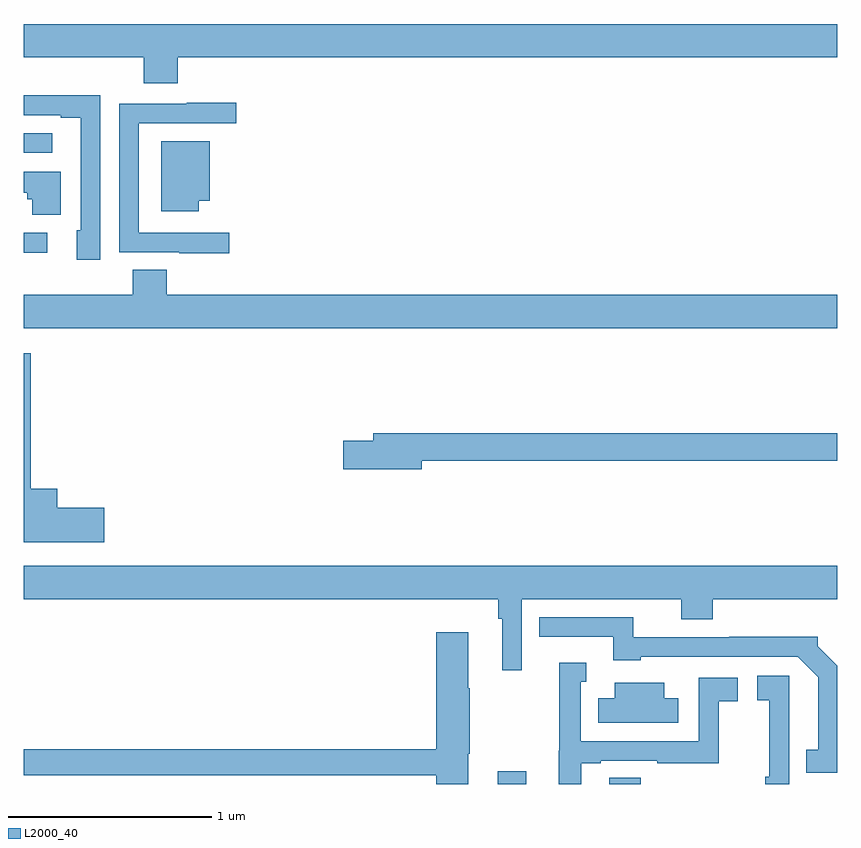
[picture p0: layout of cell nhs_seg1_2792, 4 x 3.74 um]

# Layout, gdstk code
import gdstk
lib = gdstk.Library(unit=1e-6, precision=1e-09)
def R(c, l, rs):  # rectangles x0, y0, x1, y1
    for r in rs: c.add(gdstk.rectangle(r[:2], r[2:], *l))
def P(c, l, *ps):  # polygons
    for p in ps: c.add(gdstk.Polygon(p, *l))
L2000_40 = (2000, 40)

nhs_seg1_2792 = lib.new_cell('nhs_seg1_2792')
R(nhs_seg1_2792, L2000_40, [(265.331,508.199,265.471,508.261), (265.88,508.199,266.033,508.229), (263,510.812,263.116,510.909), (263,511.302,263.14,511.398)])
P(nhs_seg1_2792, L2000_40, [(263.756,511.772),(267,511.772),(267,511.936),(263,511.936),(263,511.772),(263.591,511.772),(263.591,511.644),(263.756,511.644)],
  [(263.376,511.586),(263,511.586),(263,511.488),(263.183,511.488),(263.183,511.476),(263.28,511.476),(263.28,510.921),(263.261,510.921),(263.261,510.777),(263.376,510.777)],
  [(264.01,510.909),(263.565,510.909),(263.565,511.449),(264.046,511.449),(264.046,511.549),(263.801,511.549),(263.801,511.545),(263.469,511.545),(263.469,510.813),(263.765,510.813),(263.765,510.809),(264.01,510.809)],
  [(263.861,511.067),(263.914,511.067),(263.914,511.36),(263.675,511.36),(263.675,511.016),(263.861,511.016)],
  [(263.182,511.21),(263,511.21),(263,511.106),(263.017,511.106),(263.017,511.074),(263.042,511.074),(263.042,510.998),(263.182,510.998)],
  [(267,510.604),(263.702,510.604),(263.702,510.728),(263.537,510.728),(263.537,510.604),(263,510.604),(263,510.44),(267,510.44)],
  [(263.395,509.558),(263.164,509.558),(263.164,509.65),(263.035,509.65),(263.035,510.316),(263,510.316),(263,509.387),(263.395,509.387)],
  [(264.958,509.788),(267,509.788),(267,509.924),(264.719,509.924),(264.719,509.888),(264.57,509.888),(264.57,509.746),(264.958,509.746)],
  [(265.449,509.108),(266.234,509.108),(266.234,509.009),(266.387,509.009),(266.387,509.108),(267,509.108),(267,509.272),(263,509.272),(263,509.108),(265.333,509.108),(265.333,509.012),(265.352,509.012),(265.352,508.758),(265.449,508.758)],
  [(267,508.781),(266.904,508.877),(266.904,508.922),(266.47,508.922),(266.47,508.92),(265.998,508.92),(265.998,509.019),(265.534,509.019),(265.534,508.923),(265.898,508.923),(265.898,508.808),(266.034,508.808),(266.034,508.824),(266.805,508.824),(266.906,508.723),(266.906,508.367),(266.848,508.367),(266.848,508.254),(267,508.254)],
  [(265.186,508.347),(265.194,508.347),(265.194,508.67),(265.186,508.67),(265.186,508.945),(265.028,508.945),(265.028,508.37),(263,508.37),(263,508.242),(265.028,508.242),(265.028,508.199),(265.186,508.199)],
  [(265.741,508.302),(265.837,508.302),(265.837,508.314),(266.116,508.314),(266.116,508.302),(266.418,508.302),(266.418,508.606),(266.512,508.606),(266.512,508.722),(266.319,508.722),(266.319,508.41),(265.74,508.41),(265.74,508.701),(265.765,508.701),(265.765,508.795),(265.632,508.795),(265.632,508.363),(265.631,508.363),(265.631,508.199),(265.741,508.199)],
  [(266.763,508.456),(266.764,508.456),(266.764,508.732),(266.607,508.732),(266.607,508.611),(266.665,508.611),(266.665,508.235),(266.647,508.235),(266.647,508.199),(266.763,508.199)],
  [(266.218,508.621),(266.149,508.621),(266.149,508.696),(265.907,508.696),(265.907,508.621),(265.825,508.621),(265.825,508.499),(266.218,508.499)])

lib.write_gds('nhs_seg1_2792.gds')
